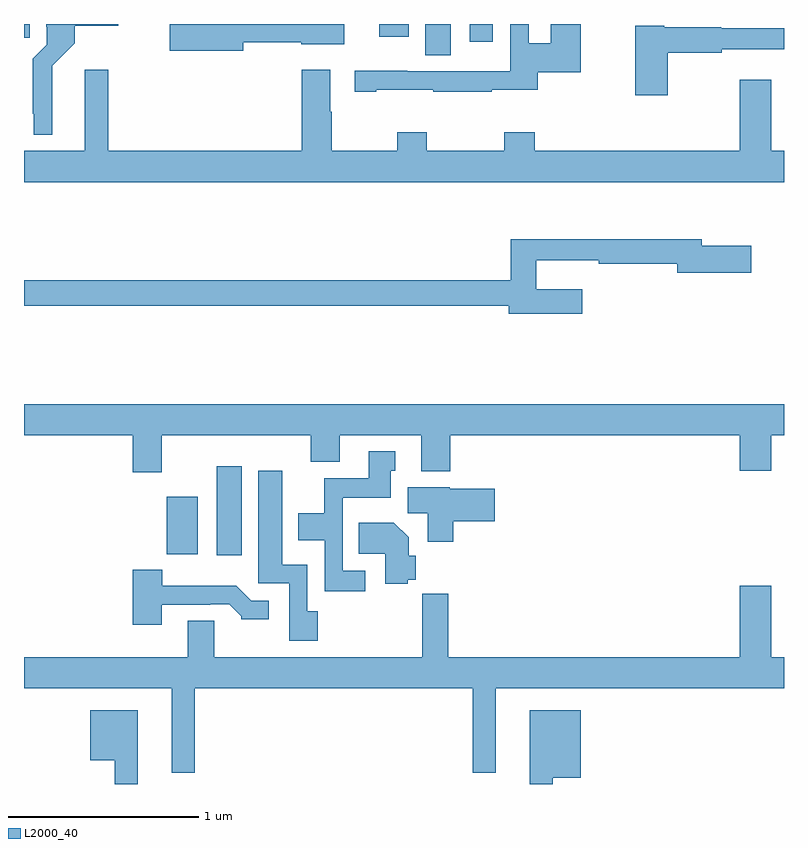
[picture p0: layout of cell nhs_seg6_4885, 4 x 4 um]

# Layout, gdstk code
import gdstk
lib = gdstk.Library(unit=1e-6, precision=1e-09)
def R(c, l, rs):  # rectangles x0, y0, x1, y1
    for r in rs: c.add(gdstk.rectangle(r[:2], r[2:], *l))
def P(c, l, *ps):  # polygons
    for p in ps: c.add(gdstk.Polygon(p, *l))
L2000_40 = (2000, 40)

nhs_seg6_4885 = lib.new_cell('nhs_seg6_4885')
R(nhs_seg6_4885, L2000_40, [(402.014,946.704,402.145,947.173), (403.112,949.336,403.246,949.5), (403.346,949.407,403.468,949.5), (401,949.428,401.029,949.5), (402.869,949.434,403.024,949.5)])
P(nhs_seg6_4885, L2000_40, [(402.154,949.405),(402.458,949.405),(402.458,949.394),(402.685,949.394),(402.685,949.5),(401.766,949.5),(401.766,949.358),(402.154,949.358)],
  [(402.853,949.153),(403.153,949.153),(403.153,949.143),(403.463,949.143),(403.463,949.153),(403.703,949.153),(403.703,949.247),(403.93,949.247),(403.93,949.5),(403.772,949.5),(403.772,949.4),(403.656,949.4),(403.656,949.5),(403.56,949.5),(403.56,949.252),(403.35,949.252),(403.35,949.251),(403.016,949.251),(403.016,949.253),(402.741,949.253),(402.741,949.143),(402.853,949.143)],
  [(401.149,949.28),(401.267,949.398),(401.267,949.49),(401.497,949.49),(401.497,949.5),(401.117,949.5),(401.117,949.486),(401.121,949.486),(401.121,949.392),(401.047,949.318),(401.047,949.027),(401.051,949.027),(401.051,948.917),(401.149,948.917)],
  [(404.387,949.348),(404.672,949.348),(404.672,949.367),(405,949.367),(405,949.477),(404.67,949.477),(404.67,949.484),(404.37,949.484),(404.37,949.492),(404.216,949.492),(404.216,949.125),(404.387,949.125)],
  [(405,948.832),(404.932,948.832),(404.932,949.207),(404.768,949.207),(404.768,948.832),(403.688,948.832),(403.688,948.931),(403.528,948.931),(403.528,948.832),(403.119,948.832),(403.119,948.931),(402.964,948.931),(402.964,948.832),(402.621,948.832),(402.621,949.037),(402.613,949.037),(402.613,949.258),(402.461,949.258),(402.461,948.832),(401.444,948.832),(401.444,949.258),(401.321,949.258),(401.321,948.832),(401,948.832),(401,948.668),(405,948.668)],
  [(403.939,948.103),(403.697,948.103),(403.697,948.257),(404.026,948.257),(404.026,948.238),(404.438,948.238),(404.438,948.191),(404.827,948.191),(404.827,948.333),(404.566,948.333),(404.566,948.367),(403.561,948.367),(403.561,948.152),(401,948.152),(401,948.016),(403.55,948.016),(403.55,947.974),(403.939,947.974)],
  [(401.725,947.336),(402.509,947.336),(402.509,947.195),(402.661,947.195),(402.661,947.336),(403.091,947.336),(403.091,947.147),(403.244,947.147),(403.244,947.336),(404.768,947.336),(404.768,947.148),(404.932,947.148),(404.932,947.336),(405,947.336),(405,947.5),(401,947.5),(401,947.336),(401.573,947.336),(401.573,947.142),(401.725,947.142)],
  [(402.796,946.623),(402.678,946.623),(402.678,947.006),(402.931,947.006),(402.931,947.148),(402.955,947.148),(402.955,947.251),(402.815,947.251),(402.815,947.11),(402.58,947.11),(402.58,946.924),(402.443,946.924),(402.443,946.784),(402.582,946.784),(402.582,946.515),(402.796,946.515)],
  [(402.545,946.41),(402.492,946.41),(402.492,946.654),(402.358,946.654),(402.358,947.149),(402.233,947.149),(402.233,946.557),(402.396,946.557),(402.396,946.254),(402.545,946.254)],
  [(403.259,946.883),(403.477,946.883),(403.477,947.053),(403.242,947.053),(403.242,947.062),(403.019,947.062),(403.019,946.924),(403.124,946.924),(403.124,946.776),(403.259,946.776)],
  [(401.914,947.011),(401.75,947.011),(401.75,946.857),(401.752,946.857),(401.752,946.709),(401.914,946.709)],
  [(403.02,946.574),(403.063,946.574),(403.063,946.702),(403.024,946.702),(403.024,946.798),(402.946,946.876),(402.763,946.876),(402.763,946.712),(402.902,946.712),(402.902,946.555),(403.02,946.555)],
  [(401.725,946.443),(401.981,946.443),(401.981,946.446),(402.08,946.446),(402.144,946.382),(402.144,946.367),(402.289,946.367),(402.289,946.464),(402.195,946.464),(402.117,946.543),(401.728,946.543),(401.728,946.627),(401.573,946.627),(401.573,946.338),(401.725,946.338)],
  [(403.232,946.501),(403.097,946.501),(403.097,946.388),(403.096,946.388),(403.096,946.168),(402.001,946.168),(402.001,946.358),(401.861,946.358),(401.861,946.168),(401,946.168),(401,946.004),(401.777,946.004),(401.777,945.56),(401.899,945.56),(401.899,946.004),(403.362,946.004),(403.362,945.667),(403.363,945.667),(403.363,945.56),(403.483,945.56),(403.483,946.004),(405,946.004),(405,946.168),(404.932,946.168),(404.932,946.543),(404.768,946.543),(404.768,946.168),(403.232,946.168)],
  [(401.599,945.889),(401.348,945.889),(401.348,945.626),(401.478,945.626),(401.478,945.5),(401.599,945.5)],
  [(403.783,945.533),(403.93,945.533),(403.93,945.889),(403.661,945.889),(403.661,945.5),(403.783,945.5)])

lib.write_gds('nhs_seg6_4885.gds')
